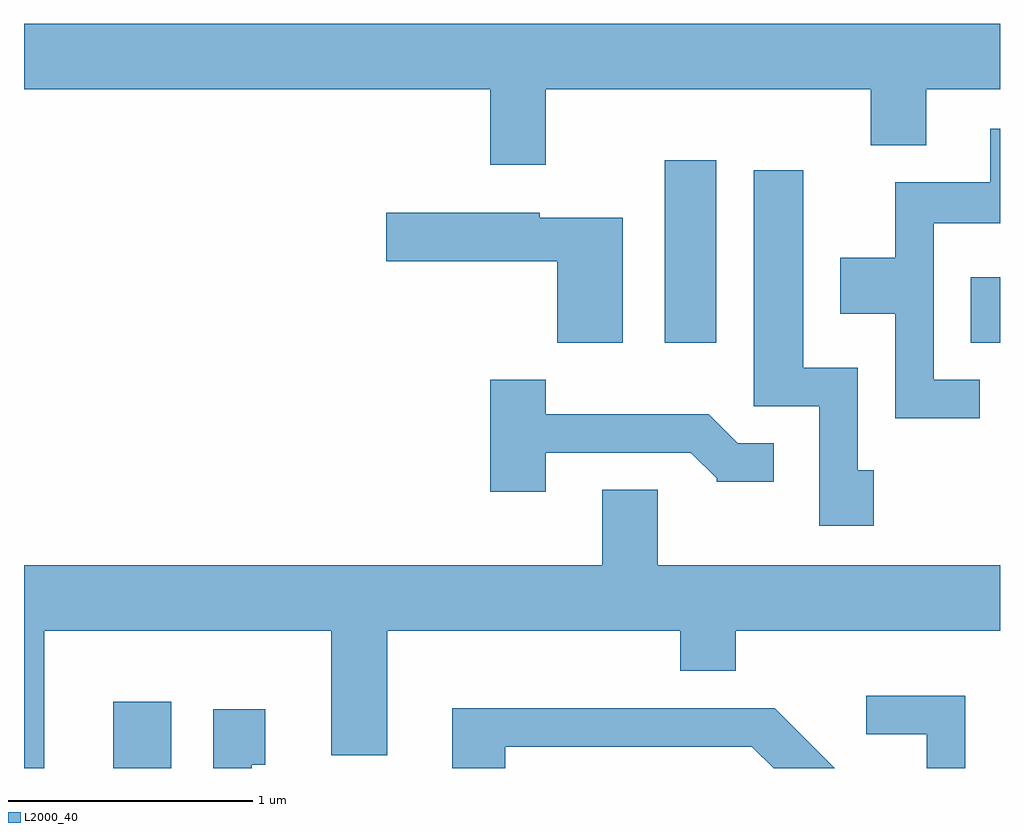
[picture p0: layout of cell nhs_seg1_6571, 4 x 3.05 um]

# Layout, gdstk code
import gdstk
lib = gdstk.Library(unit=1e-6, precision=1e-09)
def R(c, l, rs):  # rectangles x0, y0, x1, y1
    for r in rs: c.add(gdstk.rectangle(r[:2], r[2:], *l))
def P(c, l, *ps):  # polygons
    for p in ps: c.add(gdstk.Polygon(p, *l))
L2000_40 = (2000, 40)

nhs_seg1_6571 = lib.new_cell('nhs_seg1_6571')
R(nhs_seg1_6571, L2000_40, [(383.976,865.712,384.214,865.984), (386.236,867.456,386.449,868.204), (387.491,867.456,387.611,867.724)])
P(nhs_seg1_6571, L2000_40, [(385.749,868.496),(387.081,868.496),(387.081,868.266),(387.309,868.266),(387.309,868.496),(387.611,868.496),(387.611,868.764),(383.611,868.764),(383.611,868.496),(385.521,868.496),(385.521,868.186),(385.749,868.186)],
  [(387.528,867.304),(387.339,867.304),(387.339,867.946),(387.611,867.946),(387.611,868.334),(387.571,868.334),(387.571,868.114),(387.181,868.114),(387.181,867.804),(386.956,867.804),(386.956,867.576),(387.181,867.576),(387.181,867.146),(387.528,867.146)],
  [(387.094,866.934),(387.029,866.934),(387.029,867.354),(386.804,867.354),(386.804,868.164),(386.601,868.164),(386.601,867.196),(386.871,867.196),(386.871,866.706),(387.094,866.706)],
  [(386.064,867.969),(385.724,867.969),(385.724,867.989),(385.096,867.989),(385.096,867.791),(385.796,867.791),(385.796,867.456),(386.064,867.456)],
  [(385.749,867.006),(386.344,867.006),(386.45,866.9),(386.45,866.886),(386.683,866.886),(386.683,867.044),(386.537,867.044),(386.417,867.164),(385.749,867.164),(385.749,867.304),(385.521,867.304),(385.521,866.846),(385.749,866.846)],
  [(383.694,866.276),(384.871,866.276),(384.871,865.766),(385.099,865.766),(385.099,866.276),(386.301,866.276),(386.301,866.111),(386.529,866.111),(386.529,866.276),(387.611,866.276),(387.611,866.544),(386.209,866.544),(386.209,866.854),(385.981,866.854),(385.981,866.544),(383.611,866.544),(383.611,865.712),(383.694,865.712)],
  [(387.469,866.009),(387.063,866.009),(387.063,865.851),(387.311,865.851),(387.311,865.712),(387.469,865.712)],
  [(385.584,865.801),(386.594,865.801),(386.683,865.712),(386.934,865.712),(386.687,865.959),(385.366,865.959),(385.366,865.712),(385.584,865.712)],
  [(384.544,865.726),(384.599,865.726),(384.599,865.954),(384.386,865.954),(384.386,865.712),(384.544,865.712)])

lib.write_gds('nhs_seg1_6571.gds')
